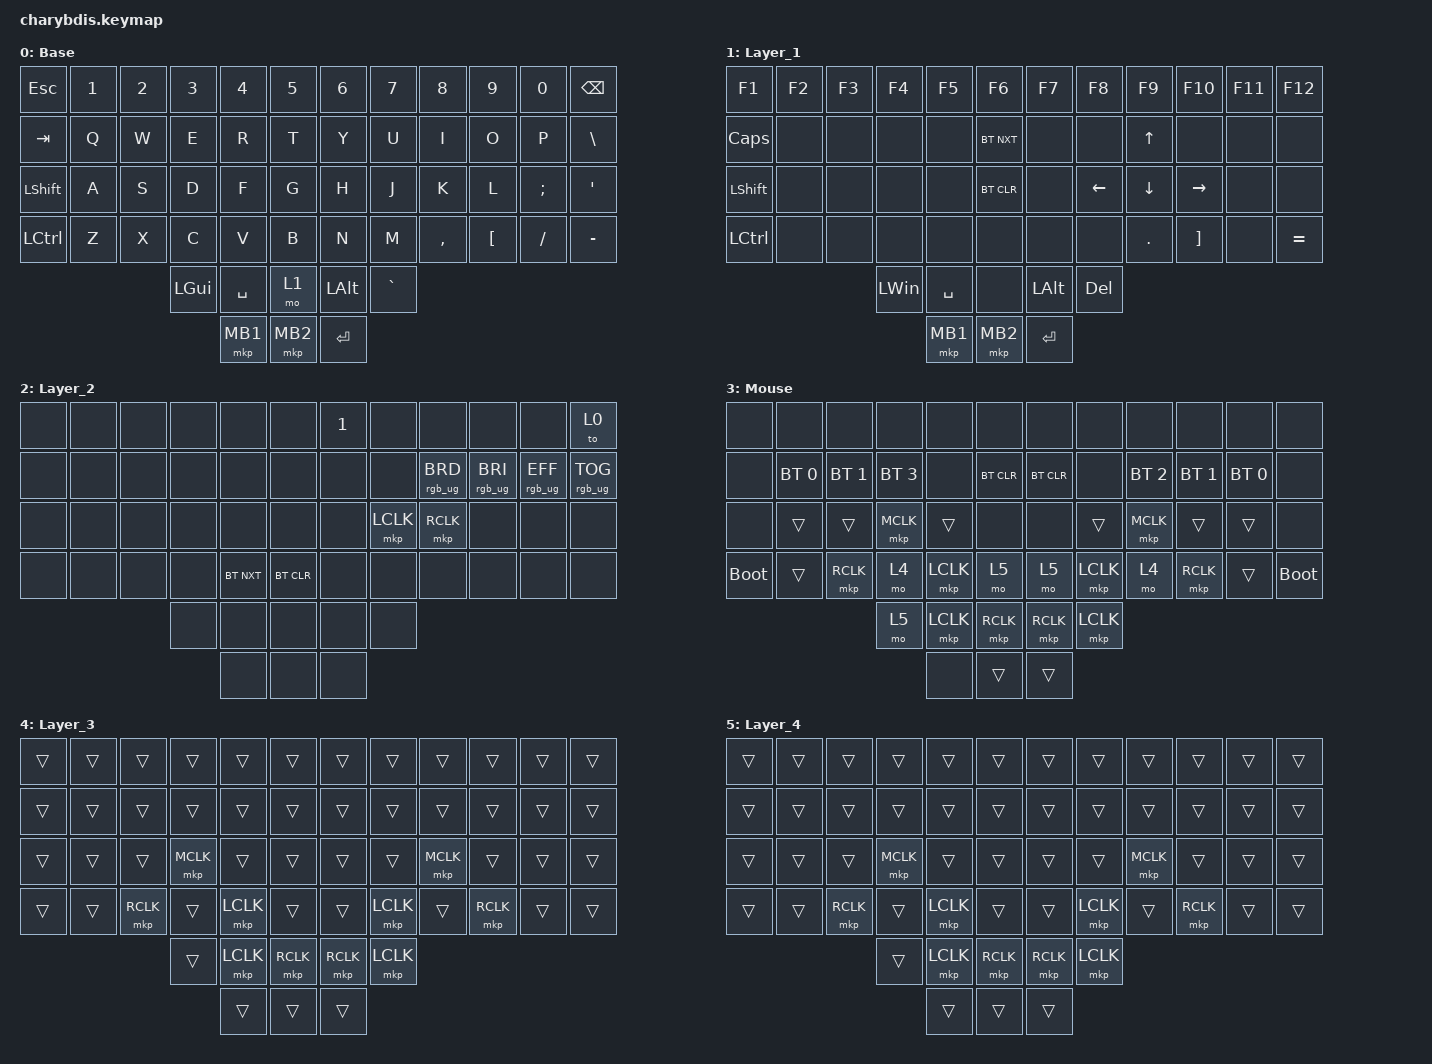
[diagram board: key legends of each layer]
#include <dt-bindings/zmk/mouse.h>
#include <behaviors.dtsi>
#include <dt-bindings/zmk/bt.h>
#include <dt-bindings/zmk/keys.h>
#include <dt-bindings/zmk/pointing.h>
#include <dt-bindings/zmk/rgb.h>

/ {
    trackball_listener {
        compatible = "zmk,input-behavior-listener";
        device = <&vtrackball>;
        layers = <0 2 3 4 5>;
        evt-type = <INPUT_EV_REL>;
        x-input-code = <INPUT_REL_X>;
        y-input-code = <INPUT_REL_Y>;
        scale-multiplier = <1>;
        scale-divisor = <4>;
        bindings = <&ib_toggle_layer 5>;
    };

    trackball_snipe_listener {
        compatible = "zmk,input-behavior-listener";
        device = <&vtrackball>;
        layers = <>;
        evt-type = <INPUT_EV_REL>;
        x-input-code = <INPUT_REL_X>;
        y-input-code = <INPUT_REL_Y>;
        scale-multiplier = <1>;
        scale-divisor = <12>;
    };

    trackball_scroll_listener {
        compatible = "zmk,input-behavior-listener";
        device = <&vtrackball>;
        layers = <1>;
        evt-type = <INPUT_EV_REL>;
        x-input-code = <INPUT_REL_MISC>;
        y-input-code = <INPUT_REL_WHEEL>;
        y-invert;
        bindings = <&ib_wheel_scaler 1 16>;
    };

    ib_wheel_scaler: ib_wheel_scaler {
        compatible = "zmk,input-behavior-scaler";
        #binding-cells = <2>;
        evt-type = <INPUT_EV_REL>;
        input-code = <INPUT_REL_WHEEL>;
    };

    ib_toggle_layer: ib_toggle_layer {
        compatible = "zmk,input-behavior-tog-layer";
        #binding-cells = <1>;
        time-to-live-ms = <750>;
    };

    behaviors {
        lt: layer_tap {
            compatible = "zmk,behavior-hold-tap";
            #binding-cells = <2>;
            flavor = "balanced";
            tapping-term-ms = <240>;
            quick-tap-ms = <150>;
            bindings = <&mo>, <&kp>;
        };
    };

    keymap {
        compatible = "zmk,keymap";

        Base {
            label = "Base";
            bindings = <
&kp ESC         &kp N1  &kp N2  &kp N3        &kp N4     &kp N5      &kp N6     &kp N7     &kp N8     &kp N9            &kp N0    &kp BACKSPACE
&kp TAB         &kp Q   &kp W   &kp E         &kp R      &kp T       &kp Y      &kp U      &kp I      &kp O             &kp P     &kp BSLH
&kp LEFT_SHIFT  &kp A   &kp S   &kp D         &kp F      &kp G       &kp H      &kp J      &kp K      &kp L             &kp SEMI  &kp SQT
&kp LCTRL       &kp Z   &kp X   &kp C         &kp V      &kp B       &kp N      &kp M      &kp COMMA  &kp LEFT_BRACKET  &kp FSLH  &kp MINUS
                                &kp LEFT_GUI  &kp SPACE  &mo 1       &kp LALT   &kp GRAVE
                                              &mkp MB1   &mkp MB2    &kp ENTER
            >;
        };

        Layer_1 {
            label = "Layer_1";
            bindings = <
&kp F1          &kp F2  &kp F3  &kp F4        &kp F5     &kp F6        &kp F7     &kp F8      &kp F9      &kp F10            &kp F11  &kp F12
&kp CAPS        &none   &none   &none         &none      &bt BT_NXT    &none      &none       &kp UP      &none              &none    &none
&kp LEFT_SHIFT  &none   &none   &none         &none      &bt BT_CLR    &none      &kp LEFT    &kp DOWN    &kp RIGHT          &none    &none
&kp LCTRL       &none   &none   &none         &none      &none         &none      &none       &kp PERIOD  &kp RIGHT_BRACKET  &none    &kp EQUAL
                                &kp LEFT_WIN  &kp SPACE  &none         &kp LALT   &kp DELETE
                                              &mkp MB1   &mkp MB2      &kp ENTER
            >;
        };

        Layer_2 {
            label = "Layer_2";
            bindings = <
&none  &none  &none  &none  &none       &none         &kp N1  &none      &none            &none            &none            &to 0
&none  &none  &none  &none  &none       &none         &none   &none      &rgb_ug RGB_BRD  &rgb_ug RGB_BRI  &rgb_ug RGB_EFF  &rgb_ug RGB_TOG
&none  &none  &none  &none  &none       &none         &none   &mkp LCLK  &mkp RCLK        &none            &none            &none
&none  &none  &none  &none  &bt BT_NXT  &bt BT_CLR    &none   &none      &none            &none            &none            &none
                     &none  &none       &none         &none   &none
                            &none       &none         &none
            >;
        };

        Mouse {
            bindings = <
&none        &none         &none         &none         &none      &none         &none       &none      &none         &none         &none         &none
&none        &bt BT_SEL 0  &bt BT_SEL 1  &bt BT_SEL 3  &none      &bt BT_CLR    &bt BT_CLR  &none      &bt BT_SEL 2  &bt BT_SEL 1  &bt BT_SEL 0  &none
&none        &trans        &trans        &mkp MCLK     &trans     &none         &none       &trans     &mkp MCLK     &trans        &trans        &none
&bootloader  &trans        &mkp RCLK     &mo 4         &mkp LCLK  &mo 5         &mo 5       &mkp LCLK  &mo 4         &mkp RCLK     &trans        &bootloader
                                         &mo 5         &mkp LCLK  &mkp RCLK     &mkp RCLK   &mkp LCLK
                                                       &none      &trans        &trans
            >;
        };

        Layer_3 {
            label = "Layer_3";
            bindings = <
&trans  &trans  &trans     &trans     &trans     &trans       &trans     &trans     &trans     &trans     &trans  &trans
&trans  &trans  &trans     &trans     &trans     &trans       &trans     &trans     &trans     &trans     &trans  &trans
&trans  &trans  &trans     &mkp MCLK  &trans     &trans       &trans     &trans     &mkp MCLK  &trans     &trans  &trans
&trans  &trans  &mkp RCLK  &trans     &mkp LCLK  &trans       &trans     &mkp LCLK  &trans     &mkp RCLK  &trans  &trans
                           &trans     &mkp LCLK  &mkp RCLK    &mkp RCLK  &mkp LCLK
                                      &trans     &trans       &trans
            >;
        };

        Layer_4 {
            label = "Layer_4";
            bindings = <
&trans  &trans  &trans     &trans     &trans     &trans       &trans     &trans     &trans     &trans     &trans  &trans
&trans  &trans  &trans     &trans     &trans     &trans       &trans     &trans     &trans     &trans     &trans  &trans
&trans  &trans  &trans     &mkp MCLK  &trans     &trans       &trans     &trans     &mkp MCLK  &trans     &trans  &trans
&trans  &trans  &mkp RCLK  &trans     &mkp LCLK  &trans       &trans     &mkp LCLK  &trans     &mkp RCLK  &trans  &trans
                           &trans     &mkp LCLK  &mkp RCLK    &mkp RCLK  &mkp LCLK
                                      &trans     &trans       &trans
            >;
        };
    };
};
